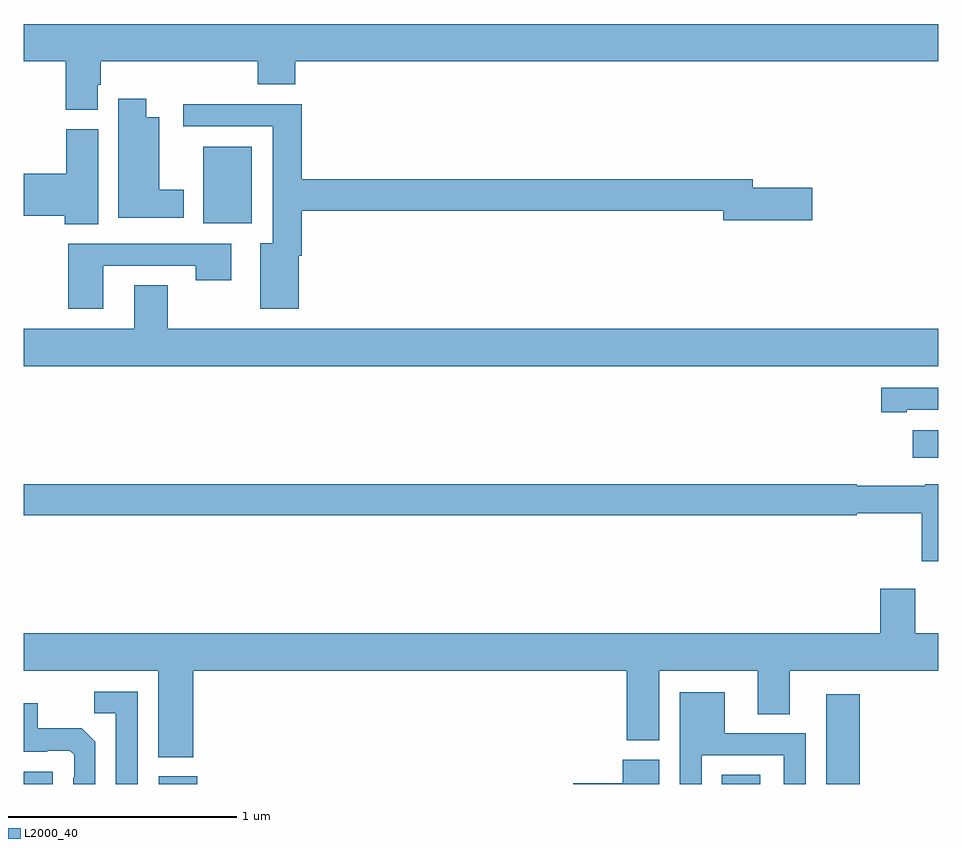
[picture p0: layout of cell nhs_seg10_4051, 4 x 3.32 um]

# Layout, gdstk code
import gdstk
lib = gdstk.Library(unit=1e-6, precision=1e-09)
def R(c, l, rs):  # rectangles x0, y0, x1, y1
    for r in rs: c.add(gdstk.rectangle(r[:2], r[2:], *l))
def P(c, l, *ps):  # polygons
    for p in ps: c.add(gdstk.Polygon(p, *l))
L2000_40 = (2000, 40)

nhs_seg10_4051 = lib.new_cell('nhs_seg10_4051')
R(nhs_seg10_4051, L2000_40, [(335,1286.5,335.127,1286.553), (335.591,1286.5,335.758,1286.533), (338.054,1286.5,338.221,1286.54), (338.51,1286.5,338.657,1286.893), (338.889,1287.926,339,1288.048), (335.786,1288.952,335.998,1289.287)])
P(nhs_seg10_4051, L2000_40, [(335.323,1289.559),(335.336,1289.559),(335.336,1289.66),(336.023,1289.66),(336.023,1289.561),(336.188,1289.561),(336.188,1289.66),(339,1289.66),(339,1289.824),(335,1289.824),(335,1289.66),(335.183,1289.66),(335.183,1289.449),(335.323,1289.449)],
  [(335.701,1289.098),(335.593,1289.098),(335.593,1289.416),(335.536,1289.416),(335.536,1289.497),(335.414,1289.497),(335.414,1288.976),(335.701,1288.976)],
  [(336.202,1288.811),(336.215,1288.811),(336.215,1289.008),(338.06,1289.008),(338.06,1288.966),(338.449,1288.966),(338.449,1289.108),(338.188,1289.108),(338.188,1289.144),(336.215,1289.144),(336.215,1289.474),(335.697,1289.474),(335.697,1289.376),(336.089,1289.376),(336.089,1288.864),(336.035,1288.864),(336.035,1288.578),(336.202,1288.578)],
  [(335.326,1289.364),(335.185,1289.364),(335.185,1289.168),(335,1289.168),(335,1288.985),(335.18,1288.985),(335.18,1288.948),(335.326,1288.948)],
  [(335.347,1288.767),(335.752,1288.767),(335.752,1288.704),(335.908,1288.704),(335.908,1288.863),(335.195,1288.863),(335.195,1288.578),(335.347,1288.578)],
  [(339,1288.492),(335.631,1288.492),(335.631,1288.682),(335.483,1288.682),(335.483,1288.492),(335,1288.492),(335,1288.328),(339,1288.328)],
  [(338.863,1288.137),(339,1288.137),(339,1288.233),(338.751,1288.233),(338.751,1288.125),(338.863,1288.125)],
  [(339,1287.811),(338.943,1287.811),(338.943,1287.805),(338.643,1287.805),(338.643,1287.812),(335,1287.812),(335,1287.676),(338.643,1287.676),(338.643,1287.684),(338.927,1287.684),(338.927,1287.474),(339,1287.474)],
  [(335.741,1286.996),(337.637,1286.996),(337.637,1286.692),(337.78,1286.692),(337.78,1286.996),(338.21,1286.996),(338.21,1286.806),(338.35,1286.806),(338.35,1286.996),(339,1286.996),(339,1287.16),(338.899,1287.16),(338.899,1287.355),(338.747,1287.355),(338.747,1287.16),(335,1287.16),(335,1286.996),(335.588,1286.996),(335.588,1286.618),(335.741,1286.618)],
  [(335.499,1286.904),(335.308,1286.904),(335.308,1286.809),(335.403,1286.809),(335.403,1286.5),(335.499,1286.5)],
  [(337.965,1286.625),(338.325,1286.625),(338.325,1286.5),(338.421,1286.5),(338.421,1286.721),(338.065,1286.721),(338.065,1286.902),(337.869,1286.902),(337.869,1286.5),(337.965,1286.5)],
  [(335.313,1286.684),(335.254,1286.743),(335.062,1286.743),(335.062,1286.854),(335,1286.854),(335,1286.642),(335.102,1286.642),(335.102,1286.646),(335.202,1286.646),(335.22,1286.628),(335.22,1286.528),(335.217,1286.528),(335.217,1286.5),(335.313,1286.5)],
  [(337.78,1286.607),(337.619,1286.607),(337.619,1286.504),(337.404,1286.504),(337.404,1286.5),(337.78,1286.5)])

lib.write_gds('nhs_seg10_4051.gds')
